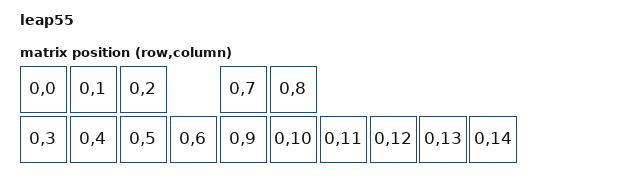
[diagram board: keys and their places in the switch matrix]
/*
 * Copyright (c) 2017 Linaro Limited
 *
 * SPDX-License-Identifier: Apache-2.0
 */

/dts-v1/;


#include <nordic/nrf52840_qiaa.dtsi>
#include <zephyr/dt-bindings/input/input-event-codes.h>
#include <dt-bindings/zmk/matrix_transform.h>
#include <dt-bindings/led/led.h>

/ {
	model = "leap55";
	compatible = "nordic,nrf52840";
    chosen {
        zephyr,code-partition = &code_partition;
        zephyr,sram = &sram0;
        zephyr,flash = &flash0;
        zmk,battery = &vbatt;
        zmk,kscan = &kscan0;
        zmk,matrix-transform = &default_transform;

    };

    vbatt: vbatt {
        compatible = "zmk,battery-voltage-divider";
        io-channels = <&adc 0>;
        output-ohms = <470000>;
        full-ohms = <(470000 + 470000)>;
    };

    default_transform: keymap_transform_0 {
        compatible = "zmk,matrix-transform";
        columns = <15>;
        rows = <1>;
        map = <
            RC(0,0) RC(0,1) RC(0,2)               RC(0,7) RC(0,8)                                     
            RC(0,3) RC(0,4) RC(0,5) RC(0,6)       RC(0,9) RC(0,10) RC(0,11) RC(0,12) RC(0,13) RC(0,14)
        >;
    };

    kscan0: kscan {
        compatible = "zmk,kscan-gpio-direct";
        wakeup-source;
    };

};

&adc {
    status = "okay";
};

&gpiote {
    status = "okay";
};

&gpio0 {
    status = "okay";
};

&gpio1 {
    status = "okay";
};

zephyr_udc0: &usbd {
    status = "okay";
};

&flash0 {
    /*
     * For more information, see:
     * http://docs.zephyrproject.org/latest/devices/dts/flash_partitions.html
     */
    partitions {
        compatible = "fixed-partitions";
        #address-cells = <1>;
        #size-cells = <1>;

        sd_partition: partition@0 {
            reg = <0x00000000 0x00026000>;
        };
        code_partition: partition@26000 {
            reg = <0x00026000 0x000c6000>;
        };

        /*
         * The flash starting at 0x000ec000 and ending at
         * 0x000f3fff is reserved for use by the application.
         */

        /*
         * Storage partition will be used by FCB/LittleFS/NVS
         * if enabled.
         */
        storage_partition: partition@ec000 {
            reg = <0x000ec000 0x00008000>;
        };

        boot_partition: partition@f4000 {
            reg = <0x000f4000 0x0000c000>;
        };
    };
};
